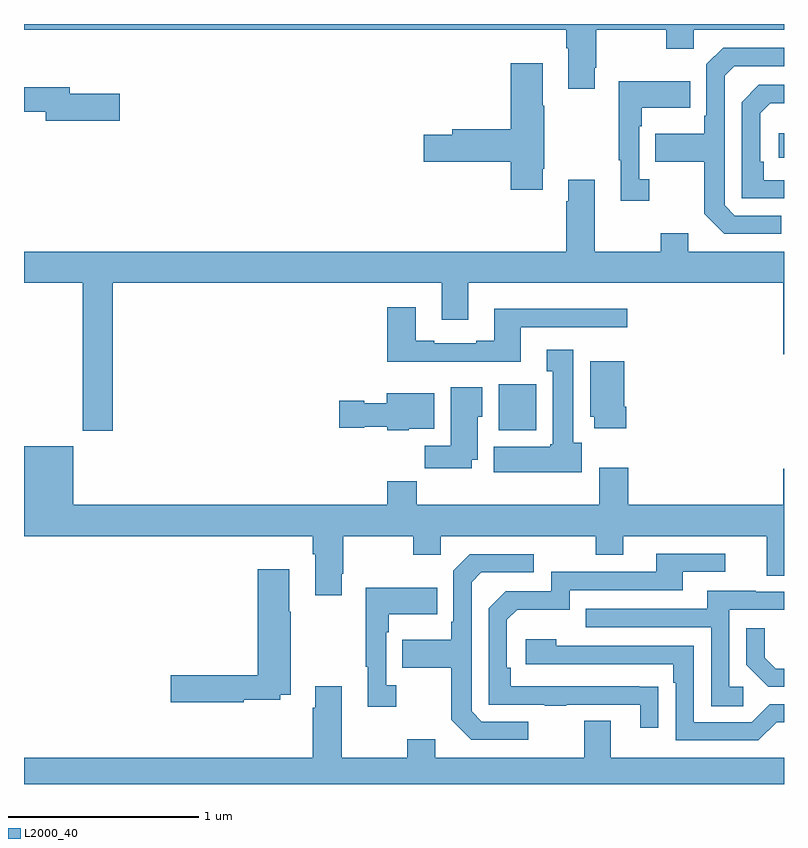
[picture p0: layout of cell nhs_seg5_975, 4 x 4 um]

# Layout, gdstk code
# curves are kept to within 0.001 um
import gdstk
lib = gdstk.Library(unit=1e-6, precision=1e-09)
def R(c, l, rs):  # rectangles x0, y0, x1, y1
    for r in rs: c.add(gdstk.rectangle(r[:2], r[2:], *l))
def P(c, l, *ps):  # polygons
    for p in ps: c.add(gdstk.Polygon(p, *l))
L2000_40 = (2000, 40)

nhs_seg5_975 = lib.new_cell('nhs_seg5_975')
R(nhs_seg5_975, L2000_40, [(175.499,846.662,175.696,846.904), (176.973,848.094,177,848.224)])
P(nhs_seg5_975, L2000_40, [(173,848.768),(175.853,848.768),(175.853,848.672),(175.865,848.672),(175.865,848.457),(176.005,848.457),(176.005,848.569),(176.013,848.569),(176.013,848.768),(176.38,848.768),(176.38,848.669),(176.526,848.669),(176.526,848.768),(177,848.768),(177,848.799),(173,848.799)],
  [(176.986,847.791),(176.742,847.791),(176.688,847.845),(176.688,848.526),(176.739,848.577),(177,848.577),(177,848.673),(176.679,848.673),(176.592,848.586),(176.592,848.317),(176.58,848.317),(176.58,848.221),(176.323,848.221),(176.323,848.074),(176.58,848.074),(176.58,847.801),(176.685,847.695),(176.986,847.695)],
  [(175.729,848.038),(175.737,848.038),(175.737,848.369),(175.729,848.369),(175.729,848.593),(175.562,848.593),(175.562,848.246),(175.253,848.246),(175.253,848.216),(175.104,848.216),(175.104,848.074),(175.562,848.074),(175.562,847.926),(175.729,847.926)],
  [(176.29,847.982),(176.238,847.982),(176.238,848.261),(176.251,848.261),(176.251,848.357),(176.507,848.357),(176.507,848.497),(176.13,848.497),(176.13,848.081),(176.141,848.081),(176.141,847.869),(176.29,847.869)],
  [(177,847.977),(176.894,847.977),(176.894,848.074),(176.874,848.074),(176.874,848.328),(176.927,848.381),(177,848.381),(177,848.478),(176.868,848.478),(176.778,848.388),(176.778,847.881),(177,847.881)],
  [(173.503,848.433),(173.242,848.433),(173.242,848.467),(173,848.467),(173,848.338),(173.114,848.338),(173.114,848.291),(173.503,848.291)],
  [(173.468,847.436),(175.199,847.436),(175.199,847.242),(175.339,847.242),(175.339,847.436),(176.996,847.436),(176.996,847.062),(177,847.062),(177,847.6),(176.497,847.6),(176.497,847.699),(176.35,847.699),(176.35,847.6),(176.005,847.6),(176.005,847.978),(175.865,847.978),(175.865,847.865),(175.853,847.865),(175.853,847.6),(173,847.6),(173,847.436),(173.308,847.436),(173.308,846.657),(173.468,846.657)],
  [(175.615,847.203),(176.176,847.203),(176.176,847.3),(175.475,847.3),(175.475,847.132),(175.379,847.132),(175.379,847.119),(175.159,847.119),(175.159,847.132),(175.063,847.132),(175.063,847.309),(174.911,847.309),(174.911,847.022),(175.615,847.022)],
  [(175.936,846.594),(175.891,846.594),(175.891,847.084),(175.751,847.084),(175.751,846.971),(175.784,846.971),(175.784,846.588),(175.771,846.588),(175.771,846.574),(175.472,846.574),(175.472,846.44),(175.936,846.44)],
  [(176.171,846.784),(176.158,846.784),(176.158,847.024),(175.979,847.024),(175.979,846.732),(176,846.732),(176,846.672),(176.171,846.672)],
  [(175.357,846.506),(175.387,846.506),(175.387,846.732),(175.411,846.732),(175.411,846.886),(175.247,846.886),(175.247,846.58),(175.108,846.58),(175.108,846.462),(175.357,846.462)],
  [(175.026,846.668),(175.159,846.668),(175.159,846.856),(174.908,846.856),(174.908,846.802),(174.792,846.802),(174.792,846.815),(174.66,846.815),(174.66,846.673),(174.792,846.673),(174.792,846.68),(174.912,846.68),(174.912,846.662),(175.026,846.662)],
  [(174.911,846.268),(173.26,846.268),(173.26,846.577),(173,846.577),(173,846.104),(174.521,846.104),(174.521,846.008),(174.533,846.008),(174.533,845.793),(174.673,845.793),(174.673,845.905),(174.681,845.905),(174.681,846.104),(175.048,846.104),(175.048,846.005),(175.194,846.005),(175.194,846.104),(176.008,846.104),(176.008,846.005),(176.155,846.005),(176.155,846.104),(176.909,846.104),(176.909,845.896),(177,845.896),(177,846.457),(176.996,846.457),(176.996,846.268),(176.18,846.268),(176.18,846.463),(176.027,846.463),(176.027,846.268),(175.067,846.268),(175.067,846.392),(174.911,846.392)],
  [(176.339,845.312),(175.562,845.313),(175.562,845.41),(175.542,845.41),(175.542,845.664),(175.595,845.717),(175.872,845.717),(175.872,845.82),(176.467,845.82),(176.467,845.916),(176.692,845.916),(176.692,846.012),(176.327,846.012),(176.327,845.916),(175.776,845.916),(175.776,845.814),(175.536,845.814),(175.446,845.724),(175.446,845.217),(175.741,845.217),(175.741,845.212),(175.853,845.212),(175.853,845.217),(176.243,845.217),(176.243,845.094),(176.339,845.094)],
  [(175.654,845.127),(175.41,845.127),(175.356,845.181),(175.356,845.862),(175.407,845.913),(175.684,845.913),(175.684,846.009),(175.347,846.009),(175.26,845.922),(175.26,845.653),(175.248,845.653),(175.248,845.557),(174.991,845.557),(174.991,845.41),(175.248,845.41),(175.248,845.137),(175.353,845.031),(175.654,845.031)],
  [(174.156,845.242),(174.348,845.242),(174.348,845.27),(174.405,845.27),(174.405,845.705),(174.397,845.705),(174.397,845.929),(174.23,845.929),(174.23,845.372),(173.772,845.372),(173.772,845.23),(174.156,845.23)],
  [(174.958,845.318),(174.906,845.318),(174.906,845.597),(174.919,845.597),(174.919,845.693),(175.175,845.693),(175.175,845.833),(174.798,845.833),(174.798,845.417),(174.809,845.417),(174.809,845.205),(174.958,845.205)],
  [(176.785,845.31),(176.712,845.31),(176.712,845.715),(177,845.715),(177,845.811),(176.851,845.811),(176.851,845.815),(176.597,845.815),(176.597,845.721),(175.957,845.721),(175.957,845.625),(176.616,845.625),(176.616,845.209),(176.785,845.209)],
  [(177,845.406),(176.956,845.406),(176.899,845.463),(176.899,845.62),(176.802,845.62),(176.802,845.426),(176.918,845.31),(177,845.31)],
  [(176.961,845.124),(177,845.124),(177,845.22),(176.925,845.22),(176.829,845.124),(176.526,845.124),(176.526,845.526),(175.802,845.526),(175.802,845.56),(175.641,845.56),(175.641,845.43),(176.417,845.43),(176.417,845.333),(176.43,845.333),(176.43,845.028),(176.865,845.028)],
  [(177,844.936),(176.089,844.936),(176.089,845.131),(175.949,845.131),(175.949,844.936),(175.165,844.936),(175.165,845.035),(175.018,845.035),(175.018,844.936),(174.673,844.936),(174.673,845.314),(174.533,845.314),(174.533,845.201),(174.521,845.201),(174.521,844.936),(173,844.936),(173,844.799),(177,844.799)])

lib.write_gds('nhs_seg5_975.gds')
